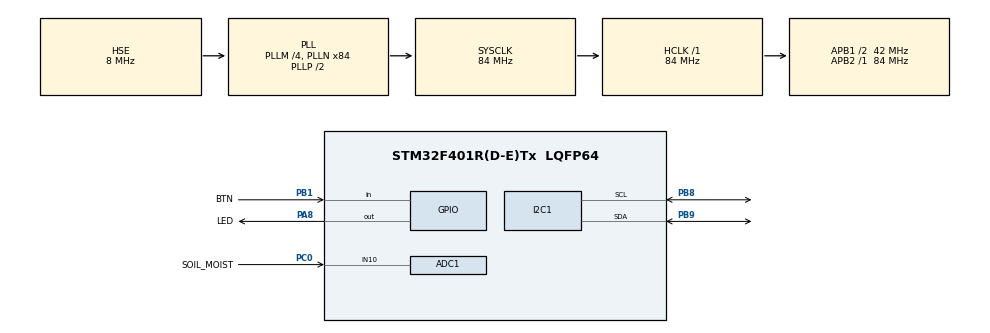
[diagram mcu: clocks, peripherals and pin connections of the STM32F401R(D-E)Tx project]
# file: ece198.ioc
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ADC1.Channel-1\#ChannelRegularConversion=ADC_CHANNEL_10
ADC1.NbrOfConversionFlag=1
ADC1.Rank-1\#ChannelRegularConversion=1
ADC1.SamplingTime-1\#ChannelRegularConversion=ADC_SAMPLETIME_3CYCLES
ADC1.master=1
FREERTOS.Tasks01=defaultTask,24,128,StartDefaultTask,Default,NULL,Dynamic,NULL,NULL
Mcu.Family=STM32F4
Mcu.Name=STM32F401R(D-E)Tx
Mcu.Package=LQFP64
NVIC.PriorityGroup=NVIC_PRIORITYGROUP_4
NVIC.TIM1_BRK_TIM9_IRQn=true\:15\:0\:false\:false\:true\:false\:false\:true\:true
NVIC.TimeBase=TIM1_BRK_TIM9_IRQn
NVIC.TimeBaseIP=TIM9
PA13.Mode=Serial_Wire
PA13.Signal=SYS_JTMS-SWDIO
PA14.Mode=Serial_Wire
PA14.Signal=SYS_JTCK-SWCLK
PA8.GPIO_Label=LED
PA8.Signal=GPIO_Output
PB1.GPIO_Label=BTN
PB1.Signal=GPIO_Input
PB8.GPIO_Pu=GPIO_PULLUP
PB8.Mode=I2C
PB8.Signal=I2C1_SCL
PB9.GPIO_Pu=GPIO_PULLUP
PB9.Mode=I2C
PB9.Signal=I2C1_SDA
PC0.GPIO_Label=SOIL_MOIST
PC0.Signal=SharedAnalog_PC0
PH0\ -\ OSC_IN.Mode=HSE-External-Oscillator
PH0\ -\ OSC_IN.Signal=RCC_OSC_IN
PH1\ -\ OSC_OUT.Mode=HSE-External-Oscillator
PH1\ -\ OSC_OUT.Signal=RCC_OSC_OUT
ProjectManager.HeapSize=0x200
ProjectManager.StackSize=0x400
ProjectManager.TargetToolchain=STM32CubeIDE
RCC.48MHZClocksFreq_Value=42000000
RCC.AHBFreq_Value=84000000
RCC.APB1CLKDivider=RCC_HCLK_DIV2
RCC.APB1Freq_Value=42000000
RCC.APB1TimFreq_Value=84000000
RCC.APB2Freq_Value=84000000
RCC.APB2TimFreq_Value=84000000
RCC.CortexFreq_Value=84000000
RCC.HCLKFreq_Value=84000000
RCC.HSE_VALUE=8000000
RCC.HSI_VALUE=16000000
RCC.LSE_VALUE=32768
RCC.PLLM=4
RCC.PLLN=84
RCC.PLLSourceVirtual=RCC_PLLSOURCE_HSE
RCC.SYSCLKFreq_VALUE=84000000
RCC.SYSCLKSource=RCC_SYSCLKSOURCE_PLLCLK
RCC.VCOOutputFreq_Value=168000000
SH.SharedAnalog_PC0.0=GPIO_Analog
SH.SharedAnalog_PC0.1=ADC1_IN10,IN10
VP_FREERTOS_VS_CMSIS_V2.Mode=CMSIS_V2
VP_SYS_VS_tim9.Mode=TIM9
board=custom

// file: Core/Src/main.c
/* USER CODE BEGIN Header */
/**
  ******************************************************************************
  * @file           : main.c
  * @brief          : Main program body
  ******************************************************************************
  * @attention
  *
  * Copyright (c) 2022 STMicroelectronics.
  * All rights reserved.
  *
  * This software is licensed under terms that can be found in the LICENSE file
  * in the root directory of this software component.
  * If no LICENSE file comes with this software, it is provided AS-IS.
  *
  ******************************************************************************
  */
/* USER CODE END Header */
#include "main.h"
#include "cmsis_os.h"

/* USER CODE BEGIN Includes */
// Library for formatting strings
#include <stdio.h>
// Library used for math functions and mathematical reductions
#include <math.h>

// Library used for communication with the LCD
#include "i2c_lcd.h"
// Library used for the BME280 sensor
#include "BME280_STM32.h"

/* USER CODE END Includes */

ADC_HandleTypeDef hadc1;

I2C_HandleTypeDef hi2c1;

/* Definitions for defaultTask */
osThreadId_t defaultTaskHandle;
const osThreadAttr_t defaultTask_attributes = {
  .name = "defaultTask",
  .stack_size = 128 * 4,
  .priority = (osPriority_t) osPriorityNormal,
};

void SystemClock_Config(void);
static void MX_GPIO_Init(void);
static void MX_ADC1_Init(void);
static void MX_I2C1_Init(void);
void StartDefaultTask(void *argument);

/* USER CODE BEGIN PFP */
void Print_LCD();
/* USER CODE END PFP */

/* USER CODE BEGIN 0 */

// Variables for storing the results of the BME280 readings
float Temperature, Pressure, Humidity;
// Variable for storing soil moisture
double SoilMoisture;
// Variable used for text formatting
char text[6];

// Variables used to replace HAL_Delay() with HAL_GetTick()
// Stores the last time the event occurred
long unsigned int event_lcd=0;
long unsigned int event_sensor=0;
long unsigned int event_button=0;
// Stores current time
long unsigned int current_time=0;

// Stores the previous button state
char btn=0;
char old_btn=0;
char state=1;

// Custom LCD display symbols
uint8_t droplet[8] = {
    0b00100,
    0b00100,
    0b01010,
    0b01010,
    0b11001,
    0b11101,
    0b11111,
    0b01110
    };

uint8_t thermometer[8] = {
    0b00100,
    0b01010,
    0b01010,
    0b01010,
    0b01010,
    0b11101,
    0b11111,
    0b01110
    };

uint8_t wifi[8] = {
    0b01110,
    0b10001,
    0b00100,
    0b01110,
    0b00000,
    0b00100,
    0b00000,
    0b00000
    };

// Experimentally determined variables used for scaling the soil moisture sensor readings
unsigned short moisture_water={1050}, moisture_air={2900};
/* USER CODE END 0 */

int main(void)
{

  /* MCU Configuration--------------------------------------------------------*/

  /* Reset of all peripherals, Initializes the Flash interface and the Systick. */
  HAL_Init();

  /* Configure the system clock */
  SystemClock_Config();

  /* Initialize all configured peripherals */
  MX_GPIO_Init();
  MX_ADC1_Init();
  MX_I2C1_Init();
  /* USER CODE BEGIN 2 */
  // Initialize the BME280 sensor
  BME280_Config(OSRS_2, OSRS_16, OSRS_1, MODE_NORMAL, T_SB_0p5, IIR_16);
  // Initialize the LCD display
  lcd_init();
  lcd_clear();
  // Load custom characters into memory
  lcd_create_char(0,thermometer);
  lcd_create_char(1,droplet);
  lcd_create_char(2,wifi);
  lcd_home();
  Print_LCD();

  /* USER CODE END 2 */

  /* Init scheduler */
  osKernelInitialize();

  /* Create the thread(s) */
  /* creation of defaultTask */
  defaultTaskHandle = osThreadNew(StartDefaultTask, NULL, &defaultTask_attributes);

  /* Start scheduler */
  osKernelStart();

  /* We should never get here as control is now taken by the scheduler */
  /* Infinite loop */
  while (1)
  {

  }
}

void SystemClock_Config(void)
{
  RCC_OscInitTypeDef RCC_OscInitStruct = {0};
  RCC_ClkInitTypeDef RCC_ClkInitStruct = {0};

  /** Configure the main internal regulator output voltage
  */
  __HAL_RCC_PWR_CLK_ENABLE();
  __HAL_PWR_VOLTAGESCALING_CONFIG(PWR_REGULATOR_VOLTAGE_SCALE2);

  /** Initializes the RCC Oscillators according to the specified parameters
  * in the RCC_OscInitTypeDef structure.
  */
  RCC_OscInitStruct.OscillatorType = RCC_OSCILLATORTYPE_HSE;
  RCC_OscInitStruct.HSEState = RCC_HSE_ON;
  RCC_OscInitStruct.PLL.PLLState = RCC_PLL_ON;
  RCC_OscInitStruct.PLL.PLLSource = RCC_PLLSOURCE_HSE;
  RCC_OscInitStruct.PLL.PLLM = 4;
  RCC_OscInitStruct.PLL.PLLN = 84;
  RCC_OscInitStruct.PLL.PLLP = RCC_PLLP_DIV2;
  RCC_OscInitStruct.PLL.PLLQ = 4;
  if (HAL_RCC_OscConfig(&RCC_OscInitStruct) != HAL_OK)
  {
    Error_Handler();
  }

  /** Initializes the CPU, AHB and APB buses clocks
  */
  RCC_ClkInitStruct.ClockType = RCC_CLOCKTYPE_HCLK|RCC_CLOCKTYPE_SYSCLK
                              |RCC_CLOCKTYPE_PCLK1|RCC_CLOCKTYPE_PCLK2;
  RCC_ClkInitStruct.SYSCLKSource = RCC_SYSCLKSOURCE_PLLCLK;
  RCC_ClkInitStruct.AHBCLKDivider = RCC_SYSCLK_DIV1;
  RCC_ClkInitStruct.APB1CLKDivider = RCC_HCLK_DIV2;
  RCC_ClkInitStruct.APB2CLKDivider = RCC_HCLK_DIV1;

  if (HAL_RCC_ClockConfig(&RCC_ClkInitStruct, FLASH_LATENCY_2) != HAL_OK)
  {
    Error_Handler();
  }
}

static void MX_ADC1_Init(void)
{

  ADC_ChannelConfTypeDef sConfig = {0};

  /** Configure the global features of the ADC (Clock, Resolution, Data Alignment and number of conversion)
  */
  hadc1.Instance = ADC1;
  hadc1.Init.ClockPrescaler = ADC_CLOCK_SYNC_PCLK_DIV4;
  hadc1.Init.Resolution = ADC_RESOLUTION_12B;
  hadc1.Init.ScanConvMode = DISABLE;
  hadc1.Init.ContinuousConvMode = DISABLE;
  hadc1.Init.DiscontinuousConvMode = DISABLE;
  hadc1.Init.ExternalTrigConvEdge = ADC_EXTERNALTRIGCONVEDGE_NONE;
  hadc1.Init.ExternalTrigConv = ADC_SOFTWARE_START;
  hadc1.Init.DataAlign = ADC_DATAALIGN_RIGHT;
  hadc1.Init.NbrOfConversion = 1;
  hadc1.Init.DMAContinuousRequests = DISABLE;
  hadc1.Init.EOCSelection = ADC_EOC_SINGLE_CONV;
  if (HAL_ADC_Init(&hadc1) != HAL_OK)
  {
    Error_Handler();
  }

  /** Configure for the selected ADC regular channel its corresponding rank in the sequencer and its sample time.
  */
  sConfig.Channel = ADC_CHANNEL_10;
  sConfig.Rank = 1;
  sConfig.SamplingTime = ADC_SAMPLETIME_3CYCLES;
  if (HAL_ADC_ConfigChannel(&hadc1, &sConfig) != HAL_OK)
  {
    Error_Handler();
  }

}

static void MX_I2C1_Init(void)
{

  hi2c1.Instance = I2C1;
  hi2c1.Init.ClockSpeed = 100000;
  hi2c1.Init.DutyCycle = I2C_DUTYCYCLE_2;
  hi2c1.Init.OwnAddress1 = 0;
  hi2c1.Init.AddressingMode = I2C_ADDRESSINGMODE_7BIT;
  hi2c1.Init.DualAddressMode = I2C_DUALADDRESS_DISABLE;
  hi2c1.Init.OwnAddress2 = 0;
  hi2c1.Init.GeneralCallMode = I2C_GENERALCALL_DISABLE;
  hi2c1.Init.NoStretchMode = I2C_NOSTRETCH_DISABLE;
  if (HAL_I2C_Init(&hi2c1) != HAL_OK)
  {
    Error_Handler();
  }

}

static void MX_GPIO_Init(void)
{
  GPIO_InitTypeDef GPIO_InitStruct = {0};

  /* GPIO Ports Clock Enable */
  __HAL_RCC_GPIOH_CLK_ENABLE();
  __HAL_RCC_GPIOC_CLK_ENABLE();
  __HAL_RCC_GPIOB_CLK_ENABLE();
  __HAL_RCC_GPIOA_CLK_ENABLE();

  /*Configure GPIO pin Output Level */
  HAL_GPIO_WritePin(LED_GPIO_Port, LED_Pin, GPIO_PIN_RESET);

  /*Configure GPIO pin : BTN_Pin */
  GPIO_InitStruct.Pin = BTN_Pin;
  GPIO_InitStruct.Mode = GPIO_MODE_INPUT;
  GPIO_InitStruct.Pull = GPIO_NOPULL;
  HAL_GPIO_Init(BTN_GPIO_Port, &GPIO_InitStruct);

  /*Configure GPIO pin : LED_Pin */
  GPIO_InitStruct.Pin = LED_Pin;
  GPIO_InitStruct.Mode = GPIO_MODE_OUTPUT_PP;
  GPIO_InitStruct.Pull = GPIO_NOPULL;
  GPIO_InitStruct.Speed = GPIO_SPEED_FREQ_LOW;
  HAL_GPIO_Init(LED_GPIO_Port, &GPIO_InitStruct);

}

/* USER CODE BEGIN 4 */
void Print_LCD(){
	lcd_clear();
	lcd_set_cursor(0, 0);
	lcd_send_string("Rel. soil ");
	lcd_send_data(1);
	sprintf(text,"%.2f",SoilMoisture);
	lcd_send_string(text);
	lcd_send_string("%");
	lcd_set_cursor(0, 1);
	lcd_send_data(0);
	sprintf(text,"%.2f",Temperature);
	lcd_send_string(text);
	lcd_send_data(0b11011111);
	lcd_send_string("C");
	lcd_set_cursor(0, 2);
	lcd_send_data(1);
	sprintf(text,"%.2f",Humidity);
	lcd_send_string(text);
	lcd_send_string("%");
	lcd_set_cursor(0, 3);
	lcd_send_string("Pres:");
	sprintf(text,"%4.1f",Pressure/100);
	lcd_send_string(text);
	lcd_send_string("hPa");
	lcd_home();
}

/* USER CODE END 4 */

void StartDefaultTask(void *argument)
{
  /* USER CODE BEGIN 5 */
  /* Infinite loop */
  for(;;)
  {
	  // Update current time
	  current_time=HAL_GetTick();
	  // Update the button readings
	  btn=HAL_GPIO_ReadPin (GPIOB, GPIO_PIN_1);
	  if((btn != old_btn) && (btn!=0)){
		  if(state==0){
			  state=1;
		  }else{
			  state=0;
		  }
	  }
	  old_btn=btn;
	  // Update sensor readings every 500ms if the reading is enabled
	  if ((current_time-event_sensor>500)&&state){

		  BME280_Measure();
		  HAL_ADC_Start(&hadc1);
		  if(HAL_ADC_PollForConversion(&hadc1,12)==HAL_OK){
			  //SoilMoisture = HAL_ADC_GetValue(&hadc1);
			  SoilMoisture=((moisture_air-HAL_ADC_GetValue(&hadc1)) * 100.0 / (moisture_air-moisture_water));
		  }
		  HAL_ADC_Stop(&hadc1);

		  event_sensor=HAL_GetTick();
	  }

	  HAL_GPIO_WritePin(GPIOA, GPIO_PIN_8, !state);

	  // Update the display every 1000 ms
	  if (current_time-event_lcd>1000){
		  Print_LCD();
		  event_lcd=HAL_GetTick();
	  }

    osDelay(1);
  }
  /* USER CODE END 5 */
}

void HAL_TIM_PeriodElapsedCallback(TIM_HandleTypeDef *htim)
{
  if (htim->Instance == TIM9) {
    HAL_IncTick();
  }
}

void Error_Handler(void)
{
  __disable_irq();
  while (1)
  {
  }
}
